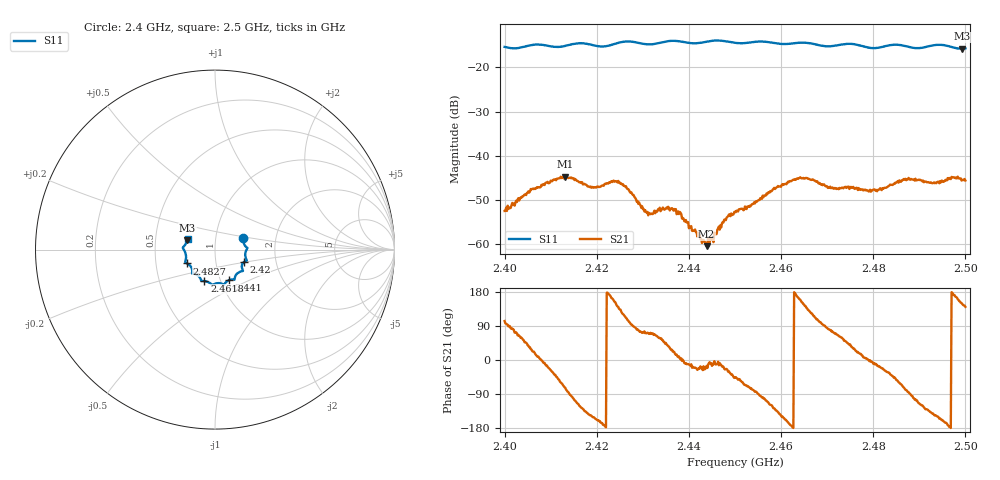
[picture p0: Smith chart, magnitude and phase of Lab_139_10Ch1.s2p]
# Hz S RI R 50
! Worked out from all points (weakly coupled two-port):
!   601 points, 2.4 GHz to 2.5 GHz, reference 50 ohm
!   highest |S21| = -44.71 dB at 2.4132 GHz (marker M1); lowest = -60.5 dB at 2.4438 GHz (marker M2)
!   lowest |S11| = -15.8 dB at 2.4993 GHz (marker M3), VSWR 1.39, Z = 36.5 + j3.83 ohm
!   |S11| at or under -10 dB: start of sweep to end of sweep
!   S12 and S22 are empty: the file has one direction only
!   S11 on the Smith chart (normalised r, x): 2.4 GHz: 1.36, +0.18; 2.42 GHz: 1.36, -0.20; 2.441 GHz: 1.10, -0.39; 2.4618 GHz: 0.84, -0.30; 2.4827 GHz: 0.72, -0.12; 2.5 GHz: 0.73, +0.09
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2.4e9  0.1585 0.0628  -0.000526 0.00232  0 0  0 0
2.406e9  0.179 0.0109  0.00388 0.00168  0 0  0 0
2.413167e9  0.17 -0.0413  0.00167 -0.00557  0 0  0 0
2.416667e9  0.1772 -0.0611  -0.00291 -0.00399  0 0  0 0
2.42e9  0.1597 -0.0703  -0.0041 -0.00171  0 0  0 0
2.4245e9  0.1527 -0.1102  -0.00391 0.00311  0 0  0 0
2.430833e9  0.1285 -0.1295  0.000761 0.00215  0 0  0 0
2.433333e9  0.1114 -0.151  0.00124 0.00216  0 0  0 0
2.436667e9  0.1084 -0.1677  0.00222 0.0009  0 0  0 0
2.441e9  0.0785 -0.1698  0.00134 -0.000485  0 0  0 0
2.443833e9  0.0562 -0.1869  0.000915 -0.000254  0 0  0 0
2.444833e9  0.0525 -0.1921  0.00111 -0.000168  0 0  0 0
2.448167e9  0.0428 -0.1918  0.00182 -0.000796  0 0  0 0
2.45e9  0.0287 -0.1874  0.00163 -0.00167  0 0  0 0
2.461833e9  -0.0591 -0.1752  -0.00506 -0.000962  0 0  0 0
2.466667e9  -0.0786 -0.1684  -0.00291 0.00447  0 0  0 0
2.472e9  -0.1132 -0.1357  0.00161 0.00389  0 0  0 0
2.482667e9  -0.1559 -0.0772  0.00381 -0.00209  0 0  0 0
2.483333e9  -0.1602 -0.0752  0.0038 -0.00251  0 0  0 0
2.487167e9  -0.163 -0.0584  0.000964 -0.00521  0 0  0 0
2.499333e9  -0.1542 0.0511  -0.0045 0.00285  0 0  0 0
2.5e9  -0.1524 0.0607  -0.00404 0.00335  0 0  0 0
